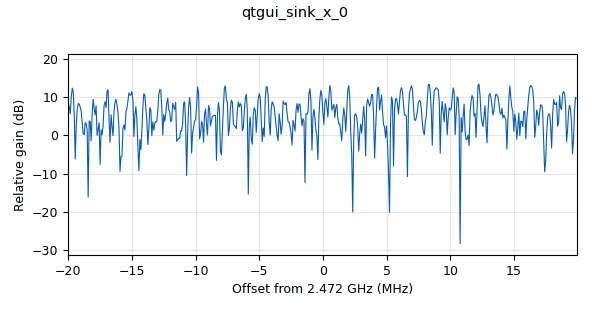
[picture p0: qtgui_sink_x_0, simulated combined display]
options:
  parameters:
    category: Custom
    generate_options: qt_gui
    id: jammer_gen
    output_language: python
  states: {}

blocks:
- name: bandwidth
  id: variable_qtgui_range
  parameters:
    label: Bandwidth
    start: 2e6
    step: '10'
    stop: 80e6
    value: var_bandwidth
    widget: slider
  states: {}
- name: bb_gain
  id: variable_qtgui_range
  parameters:
    label: BB gain
    start: '10'
    step: '10'
    stop: '90'
    value: var_bb_gain
    widget: slider
  states: {}
- name: cent_freq
  id: variable_qtgui_range
  parameters:
    label: Freq
    start: 10e6
    step: '500'
    stop: 6000e6
    value: var_cent_freq
  states: {}
- name: if_gain
  id: variable_qtgui_range
  parameters:
    label: IF gain
    start: '10'
    step: '10'
    stop: '90'
    value: var_if_gain
    widget: slider
  states: {}
- name: rf_gain
  id: variable_qtgui_range
  parameters:
    label: RF gain
    start: '10'
    step: '10'
    stop: '90'
    value: var_rf_gain
    widget: slider
  states: {}
- name: samp_rate
  id: variable
  parameters:
    value: 4e6
  states: {}
- name: sample_rate
  id: variable_qtgui_range
  parameters:
    label: Sample rate
    start: 1e6
    step: '10'
    stop: 20e6
    value: samp_rate
    widget: slider
  states: {}
- name: var_bandwidth
  id: variable
  parameters:
    value: 40e6
  states: {}
- name: var_bb_gain
  id: variable
  parameters:
    value: '60'
  states: {}
- name: var_cent_freq
  id: variable
  parameters:
    value: 2472e6
  states: {}
- name: var_if_gain
  id: variable
  parameters:
    value: '60'
  states: {}
- name: var_rf_gain
  id: variable
  parameters:
    value: '80'
  states: {}
- name: analog_noise_source_x_1
  id: analog_noise_source_x
  parameters:
    amp: '100'
    noise_type: analog.GR_GAUSSIAN
    seed: '2'
    type: complex
  states: {}
- name: qtgui_sink_x_0
  id: qtgui_sink_x
  parameters:
    bw: bandwidth
    fc: cent_freq
    fftsize: '512'
    plotconst: 'False'
    plottime: 'False'
    plotwaterfall: 'False'
    showrf: 'True'
    type: complex
  states: {}
- name: uhd_usrp_sink_0
  id: uhd_usrp_sink
  parameters:
    ant0: '"TX/RX"'
    bw0: 20e6
    center_freq0: 2472e6
    gain0: '69'
    samp_rate: samp_rate
    sync: sync
    type: fc32
  states: {}
- name: xmlrpc_server_0
  id: xmlrpc_server
  parameters:
    addr: localhost
    port: '8888'
  states: {}

connections:
- [analog_noise_source_x_1, '0', qtgui_sink_x_0, '0']
- [analog_noise_source_x_1, '0', uhd_usrp_sink_0, '0']

metadata:
  file_format: 1
